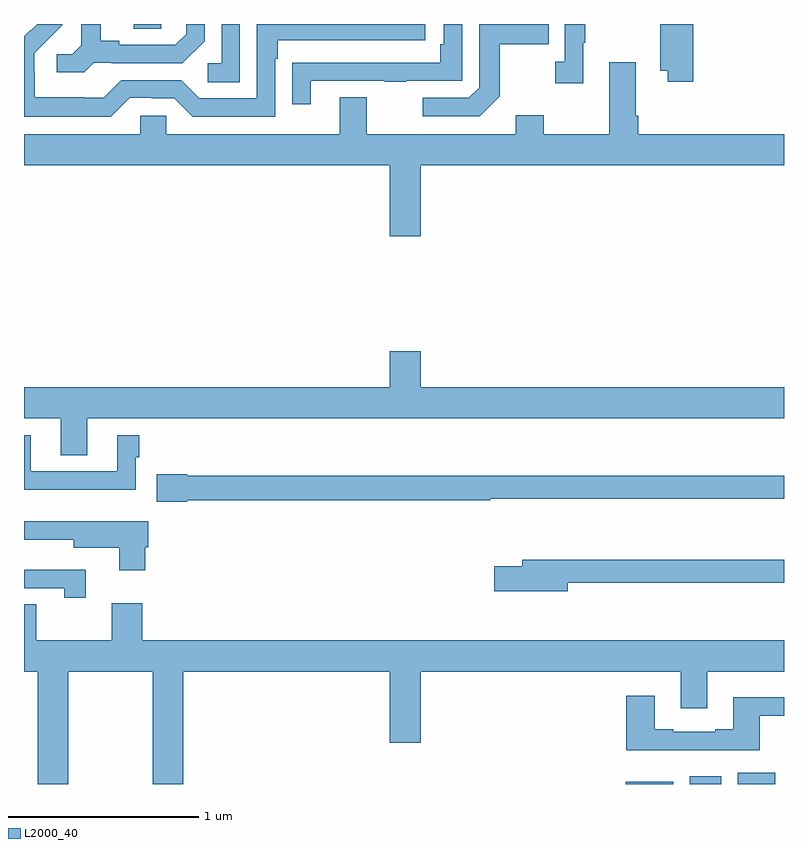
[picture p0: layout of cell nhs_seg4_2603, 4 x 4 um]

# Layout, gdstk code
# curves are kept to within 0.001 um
import gdstk
lib = gdstk.Library(unit=1e-6, precision=1e-09)
def R(c, l, rs):  # rectangles x0, y0, x1, y1
    for r in rs: c.add(gdstk.rectangle(r[:2], r[2:], *l))
def P(c, l, *ps):  # polygons
    for p in ps: c.add(gdstk.Polygon(p, *l))
L2000_40 = (2000, 40)

nhs_seg4_2603 = lib.new_cell('nhs_seg4_2603')
R(nhs_seg4_2603, L2000_40, [(250.166,790.9,250.417,790.912), (250.505,790.9,250.669,790.942), (250.757,790.9,250.954,790.96), (247.577,794.875,247.722,794.9)])
P(nhs_seg4_2603, L2000_40, [(247.557,794.511),(247.673,794.511),(247.673,794.508),(247.791,794.508),(247.887,794.412),(248.322,794.412),(248.322,794.717),(248.335,794.717),(248.335,794.814),(249.112,794.814),(249.112,794.9),(248.226,794.9),(248.226,794.508),(247.923,794.508),(247.827,794.604),(247.512,794.604),(247.419,794.511),(247.319,794.511),(247.319,794.515),(247.056,794.515),(247.056,794.649),(247.054,794.649),(247.054,794.746),(247.2,794.894),(247.2,794.9),(247.07,794.9),(247.035,794.865),(247.032,794.868),(247,794.836),(247,794.411),(247.457,794.411)],
  [(248.509,794.601),(248.899,794.601),(248.899,794.596),(249.011,794.596),(249.011,794.601),(249.306,794.601),(249.306,794.9),(249.21,794.9),(249.21,794.794),(249.19,794.794),(249.19,794.697),(248.515,794.697),(248.515,794.696),(248.413,794.696),(248.413,794.478),(248.509,794.478)],
  [(248.136,794.9),(248.04,794.9),(248.04,794.694),(247.968,794.694),(247.968,794.593),(248.136,794.593)],
  [(249.505,794.521),(249.505,794.794),(249.761,794.794),(249.761,794.9),(249.396,794.9),(249.396,794.565),(249.342,794.511),(249.099,794.511),(249.099,794.415),(249.399,794.415)],
  [(250.523,794.9),(250.348,794.9),(250.348,794.654),(250.388,794.654),(250.388,794.595),(250.523,794.595)],
  [(247.368,794.697),(247.462,794.697),(247.462,794.694),(247.834,794.694),(247.95,794.81),(247.95,794.9),(247.853,794.9),(247.853,794.847),(247.796,794.79),(247.501,794.79),(247.501,794.813),(247.405,794.813),(247.405,794.9),(247.301,794.9),(247.301,794.789),(247.254,794.742),(247.173,794.742),(247.173,794.645),(247.316,794.645)],
  [(249.943,794.801),(249.955,794.801),(249.955,794.9),(249.846,794.9),(249.846,794.702),(249.795,794.702),(249.795,794.589),(249.943,794.589)],
  [(249.088,794.156),(251,794.156),(251,794.32),(250.232,794.32),(250.232,794.416),(250.219,794.416),(250.219,794.698),(250.079,794.698),(250.079,794.32),(249.735,794.32),(249.735,794.419),(249.587,794.419),(249.587,794.32),(248.803,794.32),(248.803,794.515),(248.663,794.515),(248.663,794.32),(247.749,794.32),(247.749,794.418),(247.611,794.418),(247.611,794.32),(247,794.32),(247,794.156),(248.924,794.156),(248.924,793.782),(249.088,793.782)],
  [(247.333,792.824),(251,792.824),(251,792.988),(249.088,792.988),(249.088,793.177),(248.924,793.177),(248.924,792.988),(247,792.988),(247,792.824),(247.193,792.824),(247.193,792.631),(247.333,792.631)],
  [(247.587,792.619),(247.607,792.619),(247.607,792.736),(247.49,792.736),(247.49,792.546),(247.036,792.546),(247.036,792.736),(247,792.736),(247,792.449),(247.587,792.449)],
  [(247.86,792.394),(249.453,792.394),(249.453,792.402),(251,792.402),(251,792.523),(247.86,792.523),(247.86,792.531),(247.698,792.531),(247.698,792.386),(247.86,792.386)],
  [(247.637,792.147),(247.655,792.147),(247.655,792.283),(247,792.283),(247,792.185),(247.262,792.185),(247.262,792.143),(247.502,792.143),(247.502,792.026),(247.637,792.026)],
  [(249.862,791.958),(251,791.958),(251,792.079),(249.623,792.079),(249.623,792.045),(249.474,792.045),(249.474,791.915),(249.862,791.915)],
  [(247.324,792.028),(247,792.028),(247,791.931),(247.211,791.931),(247.211,791.88),(247.324,791.88)],
  [(247.233,791.492),(247.678,791.492),(247.678,790.9),(247.838,790.9),(247.838,791.492),(248.924,791.492),(248.924,791.118),(249.088,791.118),(249.088,791.492),(250.457,791.492),(250.457,791.298),(250.597,791.298),(250.597,791.492),(251,791.492),(251,791.656),(247.622,791.656),(247.622,791.851),(247.462,791.851),(247.462,791.656),(247.065,791.656),(247.065,791.846),(247,791.846),(247,791.492),(247.073,791.492),(247.073,790.9),(247.233,790.9)],
  [(250.873,791.259),(251,791.259),(251,791.356),(250.733,791.356),(250.733,791.188),(250.637,791.188),(250.637,791.175),(250.417,791.175),(250.417,791.188),(250.321,791.188),(250.321,791.365),(250.169,791.365),(250.169,791.078),(250.873,791.078)])

lib.write_gds('nhs_seg4_2603.gds')
